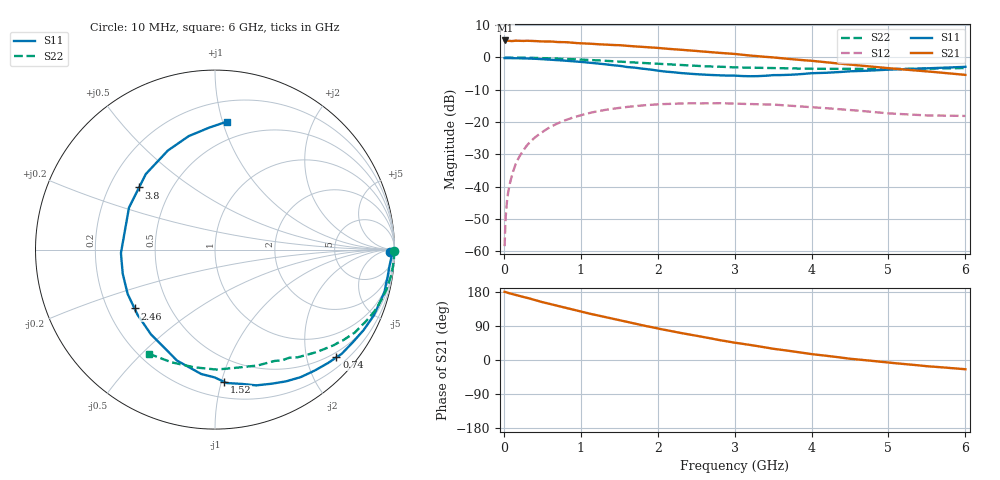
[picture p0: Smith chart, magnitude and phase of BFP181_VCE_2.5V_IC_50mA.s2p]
! Infineon Technologies  Discrete & RF Semiconductors
! BFP181
! VCE = 2.5 V,  IC =  50 mA
! Common Emitter S-Parameters:  Jan 2016
# GHz  S  MA  R  50
!  f  S11  S21  S12  S22
! GHz  MAG  ANG  MAG  ANG  MAG  ANG  MAG  ANG
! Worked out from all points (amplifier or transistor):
!   210 points, 10 MHz to 6 GHz, reference 50 ohm
!   highest |S21| = 5.3 dB at 20 MHz (marker M1)
!   |S21| within 3 dB of that: start of sweep to 2.38 GHz
!   unconditionally stable (mu >= 1): 3.655 GHz to end of sweep
!   at 185 MHz: K = 0.06, MSG = 18.3 dB, |S12| = -31.4 dB
!   at 1.52 GHz: K = 0.46, MSG = 9.7 dB, |S12| = -15.6 dB
!   at 6 GHz: K = 1.46, MAG = 2.3 dB, |S12| = -18.1 dB
!   S11 on the Smith chart (normalised r, x): 10 MHz: 69, -37; 740 MHz: 0.39, -2.58; 1.52 GHz: 0.31, -1.02; 2.46 GHz: 0.31, -0.30; 3.8 GHz: 0.33, +0.32; 6 GHz: 0.35, +1.03
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0.01  0.9778 -0.7  1.814 179.9  0.0012 87.0  0.9989 -0.3
0.02  0.9785 -1.3  1.835 179.5  0.0027 91.5  0.9988 -0.6
0.04  0.9818 -2.2  1.826 178.1  0.0058 91.0  0.9985 -1.1
0.075  0.9791 -4.1  1.807 176.0  0.0107 87.4  0.9985 -2.1
0.135  0.9743 -7.7  1.812 172.8  0.0195 84.0  0.997 -3.7
0.195  0.9719 -11.0  1.814 169.5  0.0282 82.4  0.9957 -5.4
0.3  0.9654 -17.2  1.816 164.3  0.0435 78.2  0.992 -8.2
0.4  0.9575 -22.5  1.799 158.4  0.0572 74.2  0.9858 -10.9
0.74  0.9044 -41.6  1.733 140.7  0.1 60.6  0.9575 -19.8
1.02  0.8509 -57.2  1.654 127.0  0.1293 50.4  0.9258 -26.4
1.3  0.7906 -73.1  1.593 114.0  0.1532 40.6  0.8909 -32.8
1.52  0.7388 -86.1  1.548 104.0  0.1669 33.9  0.8597 -37.2
2.02  0.6212 -115.7  1.4 82.4  0.189 20.4  0.7982 -45.9
2.46  0.5555 -143.8  1.275 65.5  0.1953 9.6  0.7485 -53.4
2.8  0.5314 -165.4  1.18 52.6  0.1966 2.5  0.7216 -58.7
3.1  0.516 176.5  1.102 42.8  0.1915 -3.2  0.6993 -63.4
3.5  0.5332 154.0  1.003 29.7  0.1868 -9.7  0.688 -69.8
3.8  0.5465 140.7  0.928 21.6  0.1768 -13.2  0.675 -75.3
4.1  0.5746 128.9  0.864 13.3  0.1671 -16.6  0.6679 -81.2
4.5  0.6111 115.5  0.778 3.3  0.154 -20.4  0.6683 -89.4
5.1  0.6537 100.9  0.667 -8.7  0.1344 -19.8  0.6654 -102.3
6  0.7162 84.7  0.538 -24.4  0.1245 -12.5  0.6866 -122.2
